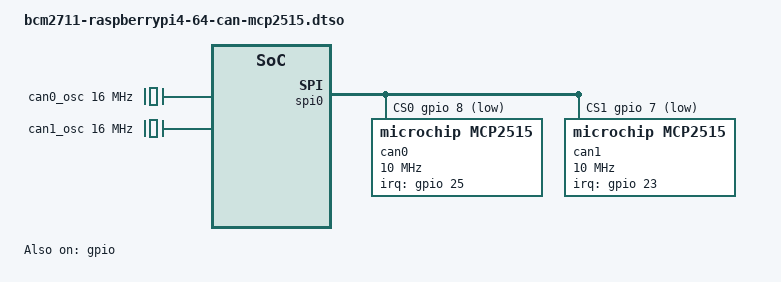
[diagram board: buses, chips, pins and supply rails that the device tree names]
/*
 * Copyright (c) 2025 EPAM systems
 *
 * SPDX-License-Identifier: Apache-2.0
 */

/*
 * Dual MCP2515 CAN controllers on SPI0 for the base DomD partial DT.
 * Optional: MACHINE_FEATURES "domd_can" + DOMD_CAN_TYPE = "mcp2515".
 *
 * The BCM2712 version hung these off RP1's Synopsys DW-APB SSI
 * (rp1_spi0 @ 0xc0_40050000) with an RP1 AXI DMA engine and RP1 pinctrl
 * ("function"/"pins" string properties). RPi4 has none of that: SPI0 is the
 * on-SoC BCM2835 controller at 0xfe204000 (GIC SPI 118), and pin muxing uses
 * the legacy `brcm,pins` / `brcm,function` bindings on the bcm2711 GPIO bank.
 *
 * Wiring matches the stock Raspberry Pi mcp2515-can0/can1 overlays:
 *   CE0 (GPIO8)  -> can0, INT on GPIO25
 *   CE1 (GPIO7)  -> can1, INT on GPIO23
 *   SPI0: SCLK GPIO11, MOSI GPIO10, MISO GPIO9 (ALT0 = brcm,function 4)
 *
 * CLOCK CAVEAT: the host takes SPI0's clock from cprman
 * (<&clocks BCM2835_CLOCK_VPU>), which cannot be handed to a driver domain
 * without dragging in clk-osc and the DSI PHY clock providers. bcm2835-spi only
 * reads the rate to compute its CDIV, so a fixed-clock stands in — but the value
 * MUST match the board's actual core clock or SCK is off by that ratio. RPi4
 * defaults to core_freq=500 and scales down when idle, so pin it in config.txt
 * (`core_freq=250` + `core_freq_min=250`, or `force_turbo=1`) and set the value
 * below to match. 250 MHz is used here because that is the value the Raspberry
 * Pi CAN documentation tells users to force.
 *
 * NOT VERIFIED ON HARDWARE — the cockpit build leaves domd_can off.
 */

/dts-v1/;
/plugin/;

&passthrough {
	can0_osc: can0-osc {
		compatible = "fixed-clock";
		#clock-cells = <0x00>;
		clock-frequency = <16000000>;
	};

	can1_osc: can1-osc {
		compatible = "fixed-clock";
		#clock-cells = <0x00>;
		clock-frequency = <16000000>;
	};

	/* Stand-in for cprman BCM2835_CLOCK_VPU — see the CLOCK CAVEAT above. */
	clk_spi0: clk-spi0 {
		compatible = "fixed-clock";
		#clock-cells = <0x00>;
		clock-frequency = <250000000>;
		clock-output-names = "spi0-core";
	};
};

/*
 * Pin groups on the passed-through bcm2711 GPIO bank. bcm2835/bcm2711 pinctrl
 * uses brcm,pins + brcm,function, not RP1's "pins"/"function" strings.
 *   brcm,function 0 = GPIO input, 1 = GPIO output, 4 = ALT0
 */
&soc_bus {
	/*
	 * On-SoC pinctrl/GPIO. Defined here rather than in the base DomD partial DT
	 * because the SPI-attached CAN controllers are its only consumer, and its two
	 * GIC SPIs (113/114) must not be claimed unless can-passthrough.dtso is also
	 * applied to the host DT -- otherwise Xen keeps the node with the hardware
	 * domain and DomD's request for those SPIs fails with -EBUSY.
	 */
	gpio: gpio@fe200000 {
		compatible = "brcm,bcm2711-gpio";
		reg = <0x0 0xfe200000 0x0 0xb4>;
		interrupts = <0x0 113 0x4>,
			     <0x0 114 0x4>;
		interrupt-parent = <&gic>;
		gpio-controller;
		#gpio-cells = <0x2>;
		interrupt-controller;
		#interrupt-cells = <0x2>;
		xen,path = "/soc/gpio@7e200000";
		xen,force-assign-without-iommu;
		xen,reg = <0x0 0xfe200000 0x0 0x1000 0x0 0xfe200000>;
		status = "okay";

		spi0_pins: spi0-pins {
			brcm,pins = <9 10 11>;
			brcm,function = <4>;		/* ALT0 = SPI0 */
		};

		spi0_cs_pins: spi0-cs-pins {
			brcm,pins = <8 7>;
			brcm,function = <1>;		/* output */
		};

		can0_pins: can0-pins {
			brcm,pins = <25>;
			brcm,function = <0>;		/* input (INT) */
		};

		can1_pins: can1-pins {
			brcm,pins = <23>;
			brcm,function = <0>;		/* input (INT) */
		};
	};
};

&soc_bus {
	spi0: spi@fe204000 {
		compatible = "brcm,bcm2835-spi";
		reg = <0x0 0xfe204000 0x0 0x200>;
		interrupts = <0x0 118 0x4>;	/* GIC SPI 118 */
		interrupt-parent = <&gic>;
		clocks = <&clk_spi0>;
		#address-cells = <0x1>;
		#size-cells = <0x0>;
		pinctrl-names = "default";
		pinctrl-0 = <&spi0_pins>, <&spi0_cs_pins>;
		cs-gpios = <&gpio 8 1>, <&gpio 7 1>;
		/*
		 * `dmas` deliberately omitted: it would require passing
		 * /soc/dma-controller@7e007000 (and its 9 GIC SPIs) to DomD.
		 * bcm2835-spi falls back to interrupt/PIO mode, which is ample
		 * for a 10 MHz MCP2515 link.
		 */
		xen,path = "/soc/spi@7e204000";
		xen,force-assign-without-iommu;
		xen,reg = <0x0 0xfe204000 0x0 0x1000 0x0 0xfe204000>;
		status = "okay";

		can0: mcp2515@0 {
			compatible = "microchip,mcp2515";
			reg = <0x00>;
			clocks = <&can0_osc>;
			spi-max-frequency = <10000000>;
			interrupt-parent = <&gpio>;
			interrupts = <25 0x8>;		/* GPIO25, IRQ_TYPE_LEVEL_LOW */
			pinctrl-names = "default";
			pinctrl-0 = <&can0_pins>;
		};

		can1: mcp2515@1 {
			compatible = "microchip,mcp2515";
			reg = <0x01>;
			clocks = <&can1_osc>;
			spi-max-frequency = <10000000>;
			interrupt-parent = <&gpio>;
			interrupts = <23 0x8>;		/* GPIO23, IRQ_TYPE_LEVEL_LOW */
			pinctrl-names = "default";
			pinctrl-0 = <&can1_pins>;
		};
	};
};
